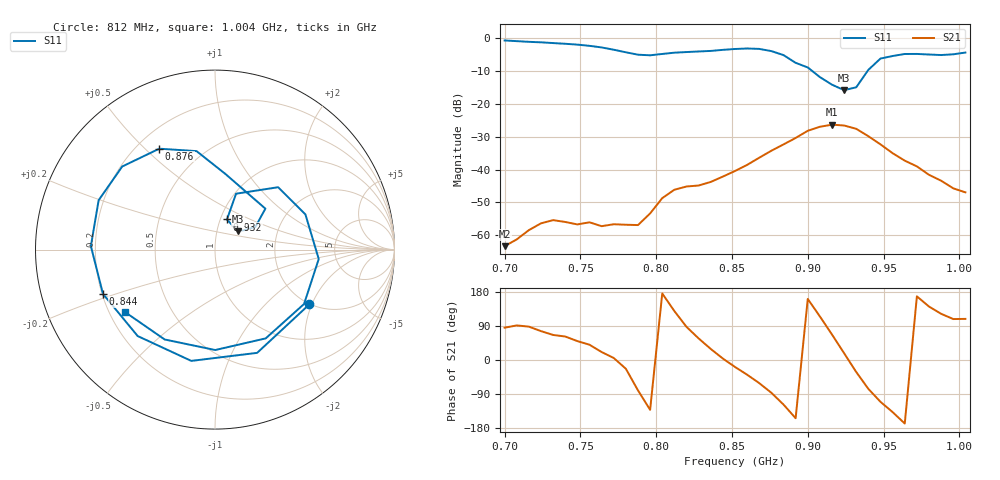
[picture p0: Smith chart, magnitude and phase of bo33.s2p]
# Hz S RI R 50
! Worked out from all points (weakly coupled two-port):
!   39 points, 700 MHz to 1.004 GHz, reference 50 ohm
!   highest |S21| = -26.29 dB at 916 MHz (marker M1); lowest = -63.3 dB at 700 MHz (marker M2)
!   lowest |S11| = -15.8 dB at 924 MHz (marker M3), VSWR 1.39, Z = 63 + j13.2 ohm
!   |S11| at or under -10 dB: 903.2 MHz to 939.3 MHz (36.15 MHz wide, 3.92 % of centre)
!   S12 and S22 are empty: the file has one direction only
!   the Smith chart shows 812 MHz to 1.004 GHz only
!   S11 on the Smith chart (normalised r, x): 812 MHz: 1.98, -1.92; 844 MHz: 0.20, -0.18; 876 MHz: 0.29, +0.55; 932 MHz: 1.08, +0.37; 1.004 GHz: 0.26, -0.29
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7e8  0.7658 0.5336  5.6e-05 0.000678  0 0  0 0
7.24e8  0.833 -0.2639  0.000361 0.00147  0 0  0 0
7.4e8  0.4434 -0.7021  0.000749 0.0014  0 0  0 0
7.56e8  -0.1964 -0.7474  0.0012 0.00102  0 0  0 0
7.72e8  -0.6471 -0.1885  0.00146 0.000136  0 0  0 0
7.8e8  -0.5704 0.2325  0.00133 -0.000567  0 0  0 0
7.88e8  -0.2158 0.5231  0.000242 -0.00141  0 0  0 0
8.04e8  0.5647 0.1362  -0.00366 0.000284  0 0  0 0
8.12e8  0.5251 -0.3058  -0.00311 0.00383  0 0  0 0
8.28e8  -0.1322 -0.62  0.00312 0.0048  0 0  0 0
8.44e8  -0.6241 -0.247  0.00782 0.000515  0 0  0 0
8.52e8  -0.6915 0.0197  0.00905 -0.003  0 0  0 0
8.76e8  -0.3107 0.5621  0.00118 -0.0194  0 0  0 0
9e8  0.2807 0.2282  -0.037 0.0127  0 0  0 0
9.08e8  0.225 0.1261  -0.019 0.0408  0 0  0 0
9.16e8  0.1647 0.1089  0.0189 0.0447  0 0  0 0
9.24e8  0.127 0.1018  0.0448 0.0144  0 0  0 0
9.32e8  0.0666 0.1678  0.0356 -0.0221  0 0  0 0
9.48e8  0.3518 0.3476  -0.00847 -0.0227  0 0  0 0
9.56e8  0.5038 0.1959  -0.0131 -0.012  0 0  0 0
9.8e8  0.2825 -0.4947  -0.00648 0.00524  0 0  0 0
1.004e9  -0.5022 -0.3473  -0.00143 0.00427  0 0  0 0
